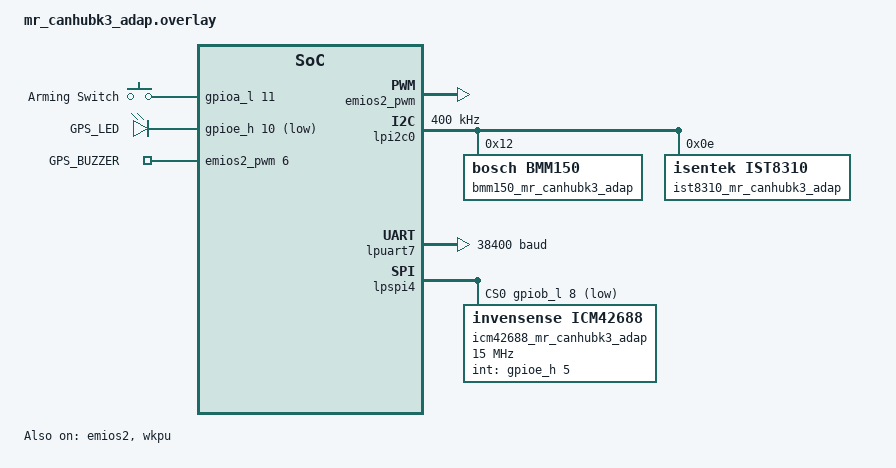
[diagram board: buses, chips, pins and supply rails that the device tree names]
/*
 * Copyright (c) 2023 CogniPilot Foundation
 * Copyright (c) 2023 NXP
 *
 * SPDX-License-Identifier: Apache-2.0
 */

#include <freq.h>
#include <zephyr/dt-bindings/gpio/nxp-s32-gpio.h>

/ {
	aliases {
		accel0 = &icm42688_mr_canhubk3_adap;
		gyro0 = &icm42688_mr_canhubk3_adap;
		mag0 = &bmm150_mr_canhubk3_adap;
		mag1 = &ist8310_mr_canhubk3_adap;
		sw0 = &arming_button_mr_canhubk3_adap;
		led0 = &gps_led_mr_canhubk3_adap;
		buzzer = &gps_buzzer_mr_canhubk3_adap;
	};

	buttons {
		compatible = "gpio-keys";
		arming_button_mr_canhubk3_adap: button_0 {
			label = "Arming Switch";
			gpios = <&gpioa_l 11 (GPIO_PULL_DOWN | GPIO_ACTIVE_HIGH)>;
		};
	};

	leds {
		gps_led_mr_canhubk3_adap: gps_led {
			label = "GPS_LED";
			gpios = <&gpioe_h 10 GPIO_ACTIVE_LOW>;
		};
	};

	pwmbuzzers {
		compatible = "pwm-leds";

		gps_buzzer_mr_canhubk3_adap: gps_buzzer {
			label = "GPS_BUZZER";
			pwms = <&emios2_pwm 6 PWM_KHZ(1) PWM_POLARITY_NORMAL>;
		};
	};
};

&emios2 {
	clock-divider = <160>;
	status = "okay";

	master_bus {
		/* Internal counter's clock = 160 MHz (eMIOS1 clk) / 160 / 1 = 1 MHz */
		emios2_bus_b {
			mode = "MCB_UP_COUNTER";
			prescaler = <1>;
			period = <DT_FREQ_K(2)>;
			status = "okay";
		};
	};

	emios2_pwm: pwm {
		pinctrl-0 = <&emios2_mr_canhubk3_adap>;
		pinctrl-names = "default";
		status = "okay";

		pwm_gps_buzzer {
			channel = <6>;
			duty-cycle = <0>;
			master-bus = <&emios2_bus_b>;
			pwm-mode = "OPWMB";
			polarity = "ACTIVE_HIGH";
		};
	};
};

&lpi2c0 {
	status = "okay";
	clock-frequency = <I2C_BITRATE_FAST>;

	bmm150_mr_canhubk3_adap: bmm150@12  {
		compatible = "bosch,bmm150";
		status = "okay";
		reg = <0x12>;
	};

	ist8310_mr_canhubk3_adap: ist8310@e {
		compatible = "isentek,ist8310";
		status = "okay";
		reg = <0xe>;
	};
};

&wkpu {
	status = "okay";
};

&pinctrl {
	lpspi4_mr_canhubk3_adap: lpspi4_mr_canhubk3_adap {
		group1 {
			pinmux = <PTB10_LPSPI4_SCK_O>, <PTB11_LPSPI4_SIN_O>;
			output-enable;
		};
		group2 {
			pinmux = <PTB9_LPSPI4_SOUT_I>;
			input-enable;
		};
	};

	emios2_mr_canhubk3_adap: emios2_mr_canhubk3_adap {
		group1 {
			pinmux = <PTE26_EMIOS_2_CH6_H_O>;
			output-enable;
		};
	};

	lpuart7_mr_canhubk3_adap: lpuart7_mr_canhubk3_adap {
		group1 {
			pinmux = <PTE1_LPUART7_TX_O>;
			output-enable;
		};
		group2 {
			pinmux = <PTE0_LPUART7_RX>;
			input-enable;
		};
	};
};

&lpuart7 {
	status = "okay";
	pinctrl-0 = <&lpuart7_mr_canhubk3_adap>;
	pinctrl-names = "default";
	current-speed = <38400>;
};

&lpspi4 {
	status = "okay";
	pinctrl-0 = <&lpspi4_mr_canhubk3_adap>;
	pinctrl-names = "default";
	cs-gpios = <&gpiob_l 8 GPIO_ACTIVE_LOW>;

	icm42688_mr_canhubk3_adap: icm42688p0@0 {
		compatible = "invensense,icm42688";
		reg = <0>;
		int-gpios = <&gpioe_h 5 NXP_S32_GPIO_INT_WKPU>;
		spi-max-frequency = <DT_FREQ_M(15)>;
		accel-hz = <DT_FREQ_K(1)>;
		accel-fs = <16>;
		gyro-hz = <DT_FREQ_K(1)>;
		gyro-fs = <2000>;
	};
};
